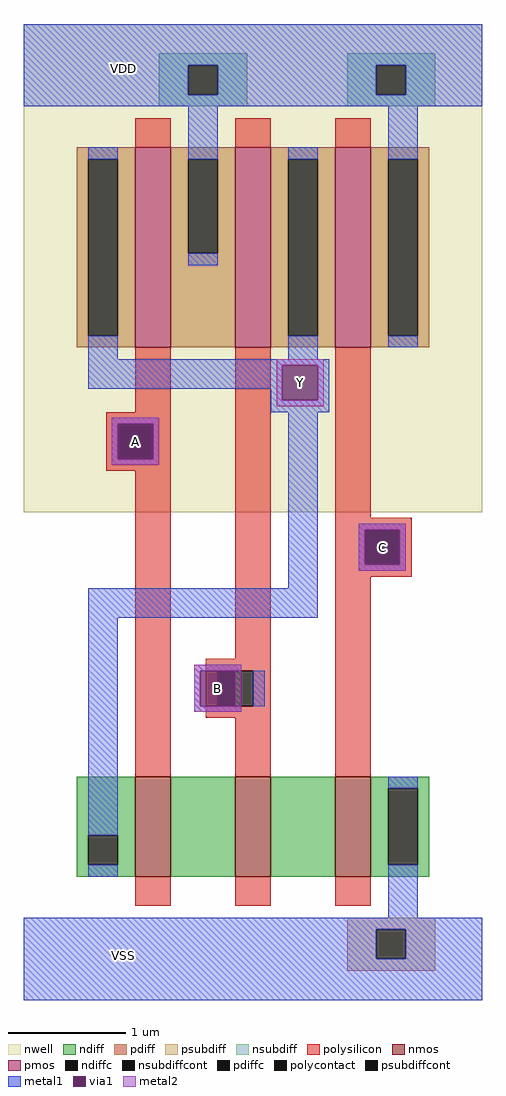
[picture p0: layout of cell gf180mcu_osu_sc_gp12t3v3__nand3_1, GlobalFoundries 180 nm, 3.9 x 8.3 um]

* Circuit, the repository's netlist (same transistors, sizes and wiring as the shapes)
** sch_path: /home/usrvnc/gits/chipathon25-SILICON_BBI-sroutk/designs/libs/core_digital/gf180mcu_osu_sc_gp12t3v3/cells/nand3/gf180mcu_osu_sc_gp12t3v3__nand3_1.sch
.subckt gf180mcu_osu_sc_gp12t3v3__nand3_1 A B Y C VDD VSS
*.PININFO A:I B:I Y:O C:I VDD:B VSS:B
XM1 net2 C VSS VSS nfet_03v3 L=0.3u W=0.85u nf=1 ad='int((nf+1)/2) * W/nf * 0.18u' as='int((nf+2)/2) * W/nf * 0.18u' pd='2*int((nf+1)/2) * (W/nf + 0.18u)'
+ ps='2*int((nf+2)/2) * (W/nf + 0.18u)' nrd='0.18u / W' nrs='0.18u / W' sa=0 sb=0 sd=0 m=1
XM2 net1 B net2 VSS nfet_03v3 L=0.3u W=0.85u nf=1 ad='int((nf+1)/2) * W/nf * 0.18u' as='int((nf+2)/2) * W/nf * 0.18u' pd='2*int((nf+1)/2) * (W/nf + 0.18u)'
+ ps='2*int((nf+2)/2) * (W/nf + 0.18u)' nrd='0.18u / W' nrs='0.18u / W' sa=0 sb=0 sd=0 m=1
XM3 Y A net1 VSS nfet_03v3 L=0.3u W=0.85u nf=1 ad='int((nf+1)/2) * W/nf * 0.18u' as='int((nf+2)/2) * W/nf * 0.18u' pd='2*int((nf+1)/2) * (W/nf + 0.18u)'
+ ps='2*int((nf+2)/2) * (W/nf + 0.18u)' nrd='0.18u / W' nrs='0.18u / W' sa=0 sb=0 sd=0 m=1
XM4 Y A VDD VDD pfet_03v3 L=0.3u W=1.7u nf=1 ad='int((nf+1)/2) * W/nf * 0.18u' as='int((nf+2)/2) * W/nf * 0.18u' pd='2*int((nf+1)/2) * (W/nf + 0.18u)'
+ ps='2*int((nf+2)/2) * (W/nf + 0.18u)' nrd='0.18u / W' nrs='0.18u / W' sa=0 sb=0 sd=0 m=1
XM5 Y B VDD VDD pfet_03v3 L=0.3u W=1.7u nf=1 ad='int((nf+1)/2) * W/nf * 0.18u' as='int((nf+2)/2) * W/nf * 0.18u' pd='2*int((nf+1)/2) * (W/nf + 0.18u)'
+ ps='2*int((nf+2)/2) * (W/nf + 0.18u)' nrd='0.18u / W' nrs='0.18u / W' sa=0 sb=0 sd=0 m=1
XM6 Y C VDD VDD pfet_03v3 L=0.3u W=1.7u nf=1 ad='int((nf+1)/2) * W/nf * 0.18u' as='int((nf+2)/2) * W/nf * 0.18u' pd='2*int((nf+1)/2) * (W/nf + 0.18u)'
+ ps='2*int((nf+2)/2) * (W/nf + 0.18u)' nrd='0.18u / W' nrs='0.18u / W' sa=0 sb=0 sd=0 m=1
.ends

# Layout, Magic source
magic
tech gf180mcuD
<< nwell >>
rect -17 83 61 166
<< nmos >>
rect 2 21 8 38
rect 19 21 25 38
rect 36 21 42 38
<< pmos >>
rect 2 111 8 145
rect 19 111 25 145
rect 36 111 42 145
<< ndiff >>
rect -8 28 2 38
rect -8 23 -6 28
rect -1 23 2 28
rect -8 21 2 23
rect 8 21 19 38
rect 25 21 36 38
rect 42 36 52 38
rect 42 23 45 36
rect 50 23 52 36
rect 42 21 52 23
<< pdiff >>
rect -8 143 2 145
rect -8 113 -6 143
rect -1 113 2 143
rect -8 111 2 113
rect 8 143 19 145
rect 8 127 11 143
rect 16 127 19 143
rect 8 111 19 127
rect 25 143 36 145
rect 25 113 28 143
rect 33 113 36 143
rect 25 111 36 113
rect 42 143 52 145
rect 42 113 45 143
rect 50 113 52 143
rect 42 111 52 113
<< ndiffc >>
rect -6 23 -1 28
rect 45 23 50 36
<< pdiffc >>
rect -6 113 -1 143
rect 11 127 16 143
rect 28 113 33 143
rect 45 113 50 143
<< psubdiff >>
rect 38 12 53 14
rect 38 7 43 12
rect 48 7 53 12
rect 38 5 53 7
<< nsubdiff >>
rect 6 159 21 161
rect 6 154 11 159
rect 16 154 21 159
rect 6 152 21 154
rect 38 159 53 161
rect 38 154 43 159
rect 48 154 53 159
rect 38 152 53 154
<< psubdiffcont >>
rect 43 7 48 12
<< nsubdiffcont >>
rect 11 154 16 159
rect 43 154 48 159
<< polysilicon >>
rect 2 145 8 150
rect 19 145 25 150
rect 36 145 42 150
rect 2 100 8 111
rect -3 98 8 100
rect -3 92 -1 98
rect 5 92 8 98
rect -3 90 8 92
rect 2 38 8 90
rect 19 58 25 111
rect 14 56 25 58
rect 14 50 16 56
rect 22 50 25 56
rect 14 48 25 50
rect 19 38 25 48
rect 36 82 42 111
rect 36 80 49 82
rect 36 74 41 80
rect 47 74 49 80
rect 36 72 49 74
rect 36 38 42 72
rect 2 16 8 21
rect 19 16 25 21
rect 36 16 42 21
<< polycontact >>
rect -1 92 5 98
rect 16 50 22 56
rect 41 74 47 80
<< metal1 >>
rect -17 159 61 166
rect -17 154 11 159
rect 16 154 43 159
rect 48 154 61 159
rect -17 152 61 154
rect -6 143 -1 145
rect 11 143 16 152
rect 11 125 16 127
rect 28 143 33 145
rect -6 109 -1 113
rect 28 109 33 113
rect 45 143 50 152
rect 45 111 50 113
rect -6 108 35 109
rect -6 104 27 108
rect 25 102 27 104
rect 33 102 35 108
rect 25 100 35 102
rect -2 98 6 99
rect -2 92 -1 98
rect 5 92 6 98
rect -2 91 6 92
rect 28 70 33 100
rect 40 80 48 81
rect 40 74 41 80
rect 47 74 48 80
rect 40 73 48 74
rect -6 65 33 70
rect -6 28 -1 65
rect 12 56 20 57
rect 12 50 13 56
rect 22 50 24 56
rect 12 49 20 50
rect -6 21 -1 23
rect 45 36 50 38
rect 45 14 50 23
rect -17 12 61 14
rect -17 7 43 12
rect 48 7 61 12
rect -17 0 61 7
<< via1 >>
rect 27 102 33 108
rect -1 92 5 98
rect 41 74 47 80
rect 13 50 16 56
rect 16 50 19 56
<< metal2 >>
rect 26 108 34 109
rect 26 102 27 108
rect 33 102 34 108
rect 26 101 34 102
rect -2 98 6 99
rect -2 92 -1 98
rect 5 92 6 98
rect -2 91 6 92
rect 40 80 48 81
rect 40 74 41 80
rect 47 74 48 80
rect 40 73 48 74
rect 12 56 20 57
rect 12 50 13 56
rect 19 50 20 56
rect 12 49 20 50
<< labels >>
flabel metal2 -2 91 6 99 0 FreeSans 48 0 0 0 A
port 1 nsew
flabel metal1 -6 155 6 162 0 FreeSans 48 0 0 0 VDD
port 5 nsew
flabel metal1 -6 4 6 11 0 FreeSans 48 0 0 0 VSS
port 6 nsew
flabel metal2 12 49 20 57 0 FreeSans 48 0 0 0 B
port 2 nsew
flabel metal2 26 101 34 109 0 FreeSans 48 0 0 0 Y
port 3 nsew
flabel metal2 40 73 48 81 0 FreeSans 48 0 0 0 C
port 4 nsew
<< properties >>
string FIXED_BBOX -17 0 61 166
<< end >>
